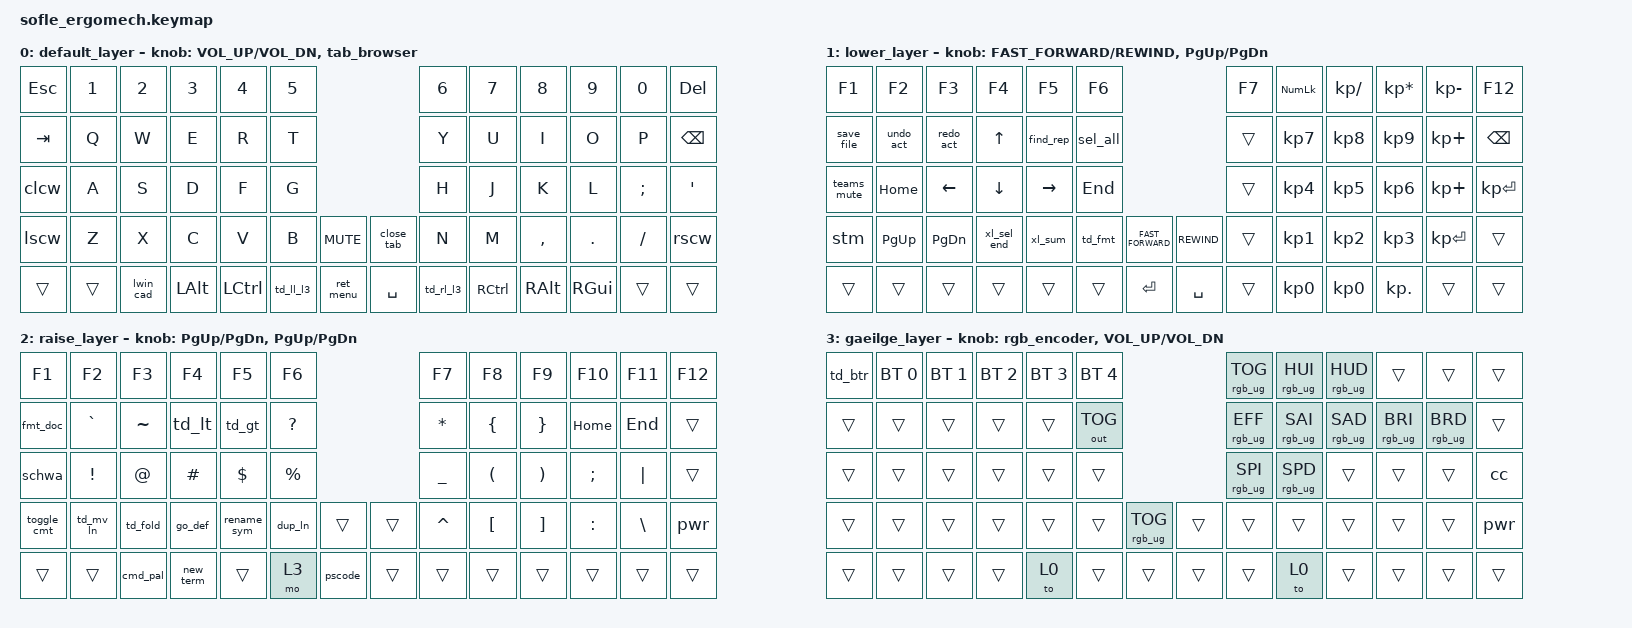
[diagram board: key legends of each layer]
/*
 * Copyright (c) 2020 The ZMK Contributors
 * SPDX-License-Identifier: MIT
 *
 * Sofle VU ZMK — Revised Keymap
 * Layer 0: Default (QWERTY) — unchanged
 * Layer 1: Office  — Nav left / Numpad right
 * Layer 2: Code    — Symbols / F-keys / shortcuts
 * Layer 3: System  — Bluetooth + RGB
 *
 * Bugs fixed from original:
 *   - lower_layer numpad used kp N7-N3 instead of KP_N7-KP_N3 (no numlock-aware)
 *     → kept as kp Nx for Windows compatibility (numpad layer), added KP_DOT
 *   - lower_layer thumb row had 4×kp N0 for 0 key (redundant)
 *   - lower_layer RHS had duplicate kp KP_PLUS on rows 2 & 3
 *   - raise_layer had kp KP_PLUS on bottom row (should be kp PLUS for symbol layer)
 *   - teams_mute macro switches BT profile before sending shortcut (side-effect) — preserved but noted
 *   - gaeilge_layer had &fada_i (not tap-dance) on I position; should be td_sp_i — added td_sp_i tap dance
 *   - combo_less_equal / combo_gtr_equal reference layer 2 (raise), key positions 15,16,25,14 with LSHIFT(37)
 *     These are valid combo positions; preserved.
 *   - rgb_dec mod-morph only catches LSFT|RSFT (missing LCTL|RCTL like rgb_inc) — fixed
 *   - Encoder: lower_layer right encoder was PG_UP/PG_DN; raise_layer left was rgb_encoder — kept logical
 */

#include <behaviors.dtsi>
#include <dt-bindings/zmk/keys.h>
#include <dt-bindings/zmk/bt.h>
#include <dt-bindings/zmk/rgb.h>
#include <dt-bindings/zmk/outputs.h>

//Encoder Support
//Alps Alpine EC11N1524402: 30 Detent, 15PPR, 2 Channel, Quadrature, 15000 Cycle
/ {
    left_encoder: encoder_left {
        compatible = "alps,ec11";
        label = "LEFT_ENCODER";
        a-gpios = <&pro_micro 21 (GPIO_ACTIVE_HIGH | GPIO_PULL_UP)>;
        b-gpios = <&pro_micro 20 (GPIO_ACTIVE_HIGH | GPIO_PULL_UP)>;
        steps = <60>;
    };
    right_encoder: encoder_right {
        compatible = "alps,ec11";
        label = "RIGHT_ENCODER";
        a-gpios = <&pro_micro 21 (GPIO_ACTIVE_HIGH | GPIO_PULL_UP)>;
        b-gpios = <&pro_micro 20 (GPIO_ACTIVE_HIGH | GPIO_PULL_UP)>;
        steps = <60>;
    };
    sensors {
        compatible = "zmk,keymap-sensors";
        sensors = <&left_encoder &right_encoder>;
        triggers-per-rotation = <30>;
    };
};

/ {
    macros {
// ── System & Power ────────────────────────────────────────────────
        tm: tm {
            label = "TASK_MANAGER";
            compatible = "zmk,behavior-macro";
            #binding-cells = <0>;
            bindings
                = <&macro_press &kp LCTRL &kp LSHFT>
                , <&macro_tap &kp ESC>
                , <&macro_release &kp LCTRL &kp LSHFT>
                ;
        };
        cad: cad {
            label = "CTRL_ALT_DEL";
            compatible = "zmk,behavior-macro";
            #binding-cells = <0>;
            bindings
                = <&macro_press &kp LCTRL &kp LALT &kp DEL>
                , <&macro_release &kp LCTRL &kp LALT &kp DEL>
                ;
        };
        slp: slp {
            label = "SLEEP";
            compatible = "zmk,behavior-macro";
            #binding-cells = <0>;
            bindings
                = <&macro_press &kp LGUI>
                , <&macro_tap &kp X>
                , <&macro_release &kp LGUI>
                , <&macro_tap &kp U &kp S>
                ;
        };
        rst: rst {
            label = "RESTART";
            compatible = "zmk,behavior-macro";
            #binding-cells = <0>;
            bindings
                = <&macro_press &kp LGUI>
                , <&macro_tap &kp X>
                , <&macro_release &kp LGUI>
                , <&macro_tap &kp U &kp R>
                ;
        };
        off: off {
            label = "SHUTDOWN";
            compatible = "zmk,behavior-macro";
            #binding-cells = <0>;
            bindings
                = <&macro_press &kp LGUI>
                , <&macro_tap &kp X>
                , <&macro_release &kp LGUI>
                , <&macro_tap &kp U &kp U>
                ;
        };

// ── Office shortcuts ──────────────────────────────────────────────
        // Teams mute: NOTE — macro switches to BT profile 1 first.
        // Preserved from original; remove bt BT_SEL 1 if not needed.
        teams_mute: teams_mute {
            label = "TEAMS_MUTE";
            compatible = "zmk,behavior-macro";
            #binding-cells = <0>;
            tap-ms = <0>;
            wait-ms = <0>;
            bindings
                = <&macro_press   &kp LGUI>
                , <&macro_tap     &kp N3>
                , <&macro_release &kp LGUI>
                , <&macro_wait_time 50>
                , <&macro_press   &kp LCTRL &kp LSHFT>
                , <&macro_tap     &kp M>
                , <&macro_release &kp LCTRL &kp LSHFT>
                ;
        };
        // Excel / Word shortcuts
        bold: bold {
            label = "BOLD";
            compatible = "zmk,behavior-macro";
            #binding-cells = <0>;
            tap-ms = <0>; wait-ms = <0>;
            bindings = <&macro_press &kp LCTRL>, <&macro_tap &kp B>, <&macro_release &kp LCTRL>;
        };
        italic: italic {
            label = "ITALIC";
            compatible = "zmk,behavior-macro";
            #binding-cells = <0>;
            tap-ms = <0>; wait-ms = <0>;
            bindings = <&macro_press &kp LCTRL>, <&macro_tap &kp I>, <&macro_release &kp LCTRL>;
        };
        underline: underline {
            label = "UNDERLINE";
            compatible = "zmk,behavior-macro";
            #binding-cells = <0>;
            tap-ms = <0>; wait-ms = <0>;
            bindings = <&macro_press &kp LCTRL>, <&macro_tap &kp U>, <&macro_release &kp LCTRL>;
        };
        save_file: save_file {
            label = "SAVE_FILE";
            compatible = "zmk,behavior-macro";
            #binding-cells = <0>;
            tap-ms = <0>; wait-ms = <0>;
            bindings = <&macro_press &kp LCTRL>, <&macro_tap &kp S>, <&macro_release &kp LCTRL>;
        };
        find_rep: find_rep {
            label = "FIND_REPLACE";
            compatible = "zmk,behavior-macro";
            #binding-cells = <0>;
            tap-ms = <0>; wait-ms = <0>;
            bindings = <&macro_press &kp LCTRL>, <&macro_tap &kp H>, <&macro_release &kp LCTRL>;
        };
        sel_all: sel_all {
            label = "SELECT_ALL";
            compatible = "zmk,behavior-macro";
            #binding-cells = <0>;
            tap-ms = <0>; wait-ms = <0>;
            bindings = <&macro_press &kp LCTRL>, <&macro_tap &kp A>, <&macro_release &kp LCTRL>;
        };
        undo_act: undo_act {
            label = "UNDO";
            compatible = "zmk,behavior-macro";
            #binding-cells = <0>;
            tap-ms = <0>; wait-ms = <0>;
            bindings = <&macro_press &kp LCTRL>, <&macro_tap &kp Z>, <&macro_release &kp LCTRL>;
        };
        redo_act: redo_act {
            label = "REDO";
            compatible = "zmk,behavior-macro";
            #binding-cells = <0>;
            tap-ms = <0>; wait-ms = <0>;
            bindings = <&macro_press &kp LCTRL>, <&macro_tap &kp Y>, <&macro_release &kp LCTRL>;
        };
        // Excel: select to end of column (Ctrl+Shift+End)
        xl_sel_end: xl_sel_end {
            label = "XL_SELECT_TO_END";
            compatible = "zmk,behavior-macro";
            #binding-cells = <0>;
            tap-ms = <0>; wait-ms = <0>;
            bindings = <&macro_press &kp LCTRL &kp LSHFT>, <&macro_tap &kp END>, <&macro_release &kp LCTRL &kp LSHFT>;
        };
        // Excel: AutoSum (Alt+=)
        xl_sum: xl_sum {
            label = "XL_AUTOSUM";
            compatible = "zmk,behavior-macro";
            #binding-cells = <0>;
            tap-ms = <0>; wait-ms = <0>;
            bindings = <&macro_press &kp LALT>, <&macro_tap &kp EQUAL>, <&macro_release &kp LALT>;
        };

// ── Browser & Window controls ─────────────────────────────────────
        tab_right: tab_right {
            label = "TAB_RIGHT";
            compatible = "zmk,behavior-macro";
            #binding-cells = <0>;
            wait-ms = <0>; tap-ms = <0>;
            bindings = <&macro_press &kp LCTRL>, <&macro_tap &kp TAB>, <&macro_release &kp LCTRL>;
        };
        tab_left: tab_left {
            label = "TAB_LEFT";
            compatible = "zmk,behavior-macro";
            #binding-cells = <0>;
            wait-ms = <0>; tap-ms = <0>;
            bindings = <&macro_press &kp LCTRL &kp LSHFT>, <&macro_tap &kp TAB>, <&macro_release &kp LCTRL &kp LSHFT>;
        };
        close_tab: close_tab {
            label = "CLOSE_TAB";
            compatible = "zmk,behavior-macro";
            #binding-cells = <0>;
            wait-ms = <0>; tap-ms = <0>;
            bindings = <&macro_press &kp LCTRL>, <&macro_tap &kp W>, <&macro_release &kp LCTRL>;
        };

// ── Code shortcuts ────────────────────────────────────────────────
        // VSCode: Format Document (Shift+Alt+F)
        fmt_doc: fmt_doc {
            label = "FORMAT_DOCUMENT";
            compatible = "zmk,behavior-macro";
            #binding-cells = <0>;
            tap-ms = <0>; wait-ms = <0>;
            bindings = <&macro_press &kp LSHFT &kp LALT>, <&macro_tap &kp F>, <&macro_release &kp LSHFT &kp LALT>;
        };
        // VSCode: Toggle Line Comment (Ctrl+/)
        toggle_cmt: toggle_cmt {
            label = "TOGGLE_COMMENT";
            compatible = "zmk,behavior-macro";
            #binding-cells = <0>;
            tap-ms = <0>; wait-ms = <0>;
            bindings = <&macro_press &kp LCTRL>, <&macro_tap &kp FSLH>, <&macro_release &kp LCTRL>;
        };
        // VSCode: Rename Symbol (F2)
        rename_sym: rename_sym {
            label = "RENAME_SYMBOL";
            compatible = "zmk,behavior-macro";
            #binding-cells = <0>;
            tap-ms = <0>; wait-ms = <0>;
            bindings = <&macro_tap &kp F2>;
        };
        // VSCode: Go to Definition (F12)
        go_def: go_def {
            label = "GO_TO_DEFINITION";
            compatible = "zmk,behavior-macro";
            #binding-cells = <0>;
            tap-ms = <0>; wait-ms = <0>;
            bindings = <&macro_tap &kp F12>;
        };
        // VSCode: Move line up (Alt+Up)
        mv_ln_up: mv_ln_up {
            label = "MOVE_LINE_UP";
            compatible = "zmk,behavior-macro";
            #binding-cells = <0>;
            tap-ms = <0>; wait-ms = <0>;
            bindings = <&macro_press &kp LALT>, <&macro_tap &kp UP>, <&macro_release &kp LALT>;
        };
        // VSCode: Move line down (Alt+Down)
        mv_ln_dn: mv_ln_dn {
            label = "MOVE_LINE_DOWN";
            compatible = "zmk,behavior-macro";
            #binding-cells = <0>;
            tap-ms = <0>; wait-ms = <0>;
            bindings = <&macro_press &kp LALT>, <&macro_tap &kp DOWN>, <&macro_release &kp LALT>;
        };
        // VSCode: Duplicate line (Shift+Alt+Down)
        dup_ln: dup_ln {
            label = "DUPLICATE_LINE";
            compatible = "zmk,behavior-macro";
            #binding-cells = <0>;
            tap-ms = <0>; wait-ms = <0>;
            bindings = <&macro_press &kp LSHFT &kp LALT>, <&macro_tap &kp DOWN>, <&macro_release &kp LSHFT &kp LALT>;
        };
        // VSCode: Fold all (Ctrl+K Ctrl+0)
        fold_all: fold_all {
            label = "FOLD_ALL";
            compatible = "zmk,behavior-macro";
            #binding-cells = <0>;
            tap-ms = <0>; wait-ms = <50>;
            bindings
                = <&macro_press &kp LCTRL>
                , <&macro_tap &kp K>
                , <&macro_release &kp LCTRL>
                , <&macro_press &kp LCTRL>
                , <&macro_tap &kp N0>
                , <&macro_release &kp LCTRL>
                ;
        };
        // VSCode: Unfold all (Ctrl+K Ctrl+J)
        unfold_all: unfold_all {
            label = "UNFOLD_ALL";
            compatible = "zmk,behavior-macro";
            #binding-cells = <0>;
            tap-ms = <0>; wait-ms = <50>;
            bindings
                = <&macro_press &kp LCTRL>
                , <&macro_tap &kp K>
                , <&macro_release &kp LCTRL>
                , <&macro_press &kp LCTRL>
                , <&macro_tap &kp J>
                , <&macro_release &kp LCTRL>
                ;
        };
        // Terminal: new terminal (Ctrl+`)
        new_term: new_term {
            label = "NEW_TERMINAL";
            compatible = "zmk,behavior-macro";
            #binding-cells = <0>;
            tap-ms = <0>; wait-ms = <0>;
            bindings = <&macro_press &kp LCTRL>, <&macro_tap &kp GRAVE>, <&macro_release &kp LCTRL>;
        };
        // Git: stage (VSCode Ctrl+Shift+G then A — approximation via palette)
        // Kept simple: Ctrl+Shift+P → quick access
        cmd_pal: cmd_pal {
            label = "COMMAND_PALETTE";
            compatible = "zmk,behavior-macro";
            #binding-cells = <0>;
            tap-ms = <0>; wait-ms = <0>;
            bindings = <&macro_press &kp LCTRL &kp LSHFT>, <&macro_tap &kp P>, <&macro_release &kp LCTRL &kp LSHFT>;
        };

// ── Unicode Special Characters ────────────────────────────────────
// Need regkey HKEY_CURRENT_USER\Control Panel\Input Method, REG_SZ EnableHexNumpad = 1
        smfada_a: smfada_a {
            label = "SMALL_FADA_A";
            compatible = "zmk,behavior-macro";
            #binding-cells = <0>;
            tap-ms = <0>; wait-ms = <0>;
            bindings = <&macro_press &kp LALT>, <&macro_tap &kp KP_PLUS &kp KP_N0 &kp KP_N0 &kp E &kp KP_N1>, <&macro_release &kp LALT>;
        };
        lfada_a: lfada_a {
            label = "LARGE_FADA_A";
            compatible = "zmk,behavior-macro";
            #binding-cells = <0>;
            tap-ms = <0>; wait-ms = <0>;
            bindings = <&macro_press &kp LALT>, <&macro_tap &kp KP_PLUS &kp KP_N0 &kp KP_N0 &kp C &kp KP_N1>, <&macro_release &kp LALT>;
        };
        smumlaut_a: smumlaut_a {
            label = "SMALL_UMLAUT_A";
            compatible = "zmk,behavior-macro";
            #binding-cells = <0>;
            tap-ms = <0>; wait-ms = <0>;
            bindings = <&macro_press &kp LALT>, <&macro_tap &kp KP_PLUS &kp KP_N0 &kp KP_N0 &kp E &kp KP_N4>, <&macro_release &kp LALT>;
        };
        lumlaut_a: lumlaut_a {
            label = "LARGE_UMLAUT_A";
            compatible = "zmk,behavior-macro";
            #binding-cells = <0>;
            tap-ms = <0>; wait-ms = <0>;
            bindings = <&macro_press &kp LALT>, <&macro_tap &kp KP_PLUS &kp KP_N0 &kp KP_N0 &kp C &kp KP_N4>, <&macro_release &kp LALT>;
        };
        smlat_ae: smlat_ae {
            label = "SMALL_LATIN_AE";
            compatible = "zmk,behavior-macro";
            #binding-cells = <0>;
            tap-ms = <0>; wait-ms = <0>;
            bindings = <&macro_press &kp LALT>, <&macro_tap &kp KP_PLUS &kp KP_N0 &kp KP_N0 &kp E &kp KP_N6>, <&macro_release &kp LALT>;
        };
        lglat_ae: lglat_ae {
            label = "LARGE_LATIN_AE";
            compatible = "zmk,behavior-macro";
            #binding-cells = <0>;
            tap-ms = <0>; wait-ms = <0>;
            bindings = <&macro_press &kp LALT>, <&macro_tap &kp KP_PLUS &kp KP_N0 &kp KP_N0 &kp C &kp KP_N6>, <&macro_release &kp LALT>;
        };
        smfada_e: smfada_e {
            label = "SMALL_FADA_E";
            compatible = "zmk,behavior-macro";
            #binding-cells = <0>;
            tap-ms = <0>; wait-ms = <0>;
            bindings = <&macro_press &kp LALT>, <&macro_tap &kp KP_PLUS &kp KP_N0 &kp KP_N0 &kp E &kp KP_N9>, <&macro_release &kp LALT>;
        };
        lfada_e: lfada_e {
            label = "LARGE_FADA_E";
            compatible = "zmk,behavior-macro";
            #binding-cells = <0>;
            tap-ms = <0>; wait-ms = <0>;
            bindings = <&macro_press &kp LALT>, <&macro_tap &kp KP_PLUS &kp KP_N0 &kp KP_N0 &kp C &kp KP_N9>, <&macro_release &kp LALT>;
        };
        smfada_i: smfada_i {
            label = "SMALL_FADA_I";
            compatible = "zmk,behavior-macro";
            #binding-cells = <0>;
            tap-ms = <0>; wait-ms = <0>;
            bindings = <&macro_press &kp LALT>, <&macro_tap &kp KP_PLUS &kp KP_N0 &kp KP_N0 &kp E &kp D>, <&macro_release &kp LALT>;
        };
        lfada_i: lfada_i {
            label = "LARGE_FADA_I";
            compatible = "zmk,behavior-macro";
            #binding-cells = <0>;
            tap-ms = <0>; wait-ms = <0>;
            bindings = <&macro_press &kp LALT>, <&macro_tap &kp KP_PLUS &kp KP_N0 &kp KP_N0 &kp C &kp D>, <&macro_release &kp LALT>;
        };
        smfada_o: smfada_o {
            label = "SMALL_FADA_O";
            compatible = "zmk,behavior-macro";
            #binding-cells = <0>;
            tap-ms = <0>; wait-ms = <0>;
            bindings = <&macro_press &kp LALT>, <&macro_tap &kp KP_PLUS &kp KP_N0 &kp KP_N0 &kp F &kp KP_N3>, <&macro_release &kp LALT>;
        };
        lfada_o: lfada_o {
            label = "LARGE_FADA_O";
            compatible = "zmk,behavior-macro";
            #binding-cells = <0>;
            tap-ms = <0>; wait-ms = <0>;
            bindings = <&macro_press &kp LALT>, <&macro_tap &kp KP_PLUS &kp KP_N0 &kp KP_N0 &kp D &kp KP_N3>, <&macro_release &kp LALT>;
        };
        smumlaut_o: smumlaut_o {
            label = "SMALL_UMLAUT_O";
            compatible = "zmk,behavior-macro";
            #binding-cells = <0>;
            tap-ms = <0>; wait-ms = <0>;
            bindings = <&macro_press &kp LALT>, <&macro_tap &kp KP_PLUS &kp KP_N0 &kp KP_N0 &kp F &kp KP_N6>, <&macro_release &kp LALT>;
        };
        lumlaut_o: lumlaut_o {
            label = "LARGE_UMLAUT_O";
            compatible = "zmk,behavior-macro";
            #binding-cells = <0>;
            tap-ms = <0>; wait-ms = <0>;
            bindings = <&macro_press &kp LALT>, <&macro_tap &kp KP_PLUS &kp KP_N0 &kp KP_N0 &kp D &kp KP_N6>, <&macro_release &kp LALT>;
        };
        smfada_u: smfada_u {
            label = "SMALL_FADA_U";
            compatible = "zmk,behavior-macro";
            #binding-cells = <0>;
            tap-ms = <0>; wait-ms = <0>;
            bindings = <&macro_press &kp LALT>, <&macro_tap &kp KP_PLUS &kp KP_N0 &kp KP_N0 &kp F &kp A>, <&macro_release &kp LALT>;
        };
        lfada_u: lfada_u {
            label = "LARGE_FADA_U";
            compatible = "zmk,behavior-macro";
            #binding-cells = <0>;
            tap-ms = <0>; wait-ms = <0>;
            bindings = <&macro_press &kp LALT>, <&macro_tap &kp KP_PLUS &kp KP_N0 &kp KP_N0 &kp D &kp A>, <&macro_release &kp LALT>;
        };
        smumlaut_u: smumlaut_u {
            label = "SMALL_UMLAUT_U";
            compatible = "zmk,behavior-macro";
            #binding-cells = <0>;
            tap-ms = <0>; wait-ms = <0>;
            bindings = <&macro_press &kp LALT>, <&macro_tap &kp KP_PLUS &kp KP_N0 &kp KP_N0 &kp F &kp C>, <&macro_release &kp LALT>;
        };
        lumlaut_u: lumlaut_u {
            label = "LARGE_UMLAUT_U";
            compatible = "zmk,behavior-macro";
            #binding-cells = <0>;
            tap-ms = <0>; wait-ms = <0>;
            bindings = <&macro_press &kp LALT>, <&macro_tap &kp KP_PLUS &kp KP_N0 &kp KP_N0 &kp D &kp C>, <&macro_release &kp LALT>;
        };
        smtil_n: smtil_n {
            label = "SMALL_TILDE_N";
            compatible = "zmk,behavior-macro";
            #binding-cells = <0>;
            tap-ms = <0>; wait-ms = <0>;
            bindings = <&macro_press &kp LALT>, <&macro_tap &kp KP_PLUS &kp KP_N0 &kp KP_N0 &kp F &kp KP_N1>, <&macro_release &kp LALT>;
        };
        ltil_n: ltil_n {
            label = "LARGE_TILDE_N";
            compatible = "zmk,behavior-macro";
            #binding-cells = <0>;
            tap-ms = <0>; wait-ms = <0>;
            bindings = <&macro_press &kp LALT>, <&macro_tap &kp KP_PLUS &kp KP_N0 &kp KP_N0 &kp D &kp KP_N1>, <&macro_release &kp LALT>;
        };
        essette_s: essette_s {
            label = "ESSETTE_S";
            compatible = "zmk,behavior-macro";
            #binding-cells = <0>;
            tap-ms = <0>; wait-ms = <0>;
            bindings = <&macro_press &kp LALT>, <&macro_tap &kp KP_PLUS &kp KP_N0 &kp KP_N0 &kp D &kp F>, <&macro_release &kp LALT>;
        };
        euro: euro {
            label = "EURO";
            compatible = "zmk,behavior-macro";
            #binding-cells = <0>;
            tap-ms = <0>; wait-ms = <0>;
            bindings = <&macro_press &kp LALT>, <&macro_tap &kp KP_PLUS &kp KP_N2 &kp KP_N0 &kp A &kp C>, <&macro_release &kp LALT>;
        };
        us_cent: us_cent {
            label = "US_CENT";
            compatible = "zmk,behavior-macro";
            #binding-cells = <0>;
            tap-ms = <0>; wait-ms = <0>;
            bindings = <&macro_press &kp LALT>, <&macro_tap &kp KP_PLUS &kp KP_N0 &kp KP_N0 &kp A &kp KP_N2>, <&macro_release &kp LALT>;
        };
        uk_pnd: uk_pnd {
            label = "UK_POUND";
            compatible = "zmk,behavior-macro";
            #binding-cells = <0>;
            tap-ms = <0>; wait-ms = <0>;
            bindings = <&macro_press &kp LALT>, <&macro_tap &kp KP_PLUS &kp KP_N0 &kp KP_N0 &kp A &kp KP_N3>, <&macro_release &kp LALT>;
        };
        degree: degree {
            label = "DEGREE_SIGN";
            compatible = "zmk,behavior-macro";
            #binding-cells = <0>;
            tap-ms = <0>; wait-ms = <0>;
            bindings = <&macro_press &kp LALT>, <&macro_tap &kp KP_PLUS &kp KP_N0 &kp KP_N0 &kp B &kp KP_N0>, <&macro_release &kp LALT>;
        };
        inv_exc: inv_exc {
            label = "INVERTED_EXCLAMATION_MARK";
            compatible = "zmk,behavior-macro";
            #binding-cells = <0>;
            tap-ms = <0>; wait-ms = <0>;
            bindings = <&macro_press &kp LALT>, <&macro_tap &kp KP_PLUS &kp KP_N0 &kp KP_N0 &kp A &kp KP_N1>, <&macro_release &kp LALT>;
        };
        inv_ques: inv_ques {
            label = "INVERTED_QUESTION_MARK";
            compatible = "zmk,behavior-macro";
            #binding-cells = <0>;
            tap-ms = <0>; wait-ms = <0>;
            bindings = <&macro_press &kp LALT>, <&macro_tap &kp KP_PLUS &kp KP_N0 &kp KP_N0 &kp B &kp F>, <&macro_release &kp LALT>;
        };
        plus_min: plus_min {
            label = "PLUS_MINUS_SIGN";
            compatible = "zmk,behavior-macro";
            #binding-cells = <0>;
            tap-ms = <0>; wait-ms = <0>;
            bindings = <&macro_press &kp LALT>, <&macro_tap &kp KP_PLUS &kp KP_N0 &kp KP_N0 &kp B &kp KP_N1>, <&macro_release &kp LALT>;
        };
        schwa: schwa {
            label = "SCHWA";
            compatible = "zmk,behavior-macro";
            #binding-cells = <0>;
            tap-ms = <0>; wait-ms = <0>;
            bindings = <&macro_press &kp LALT>, <&macro_tap &kp KP_PLUS &kp KP_N0 &kp KP_N2 &kp KP_N5 &kp KP_N9>, <&macro_release &kp LALT>;
        };
        smogo_a: smogo_a {
            label = "SMALL_OGONEK_A";
            compatible = "zmk,behavior-macro";
            #binding-cells = <0>;
            tap-ms = <0>; wait-ms = <0>;
            bindings = <&macro_press &kp LALT>, <&macro_tap &kp KP_PLUS &kp KP_N0 &kp KP_N1 &kp KP_N0 &kp KP_N5>, <&macro_release &kp LALT>;
        };
        logo_a: logo_a {
            label = "LARGE_OGONEK_A";
            compatible = "zmk,behavior-macro";
            #binding-cells = <0>;
            tap-ms = <0>; wait-ms = <0>;
            bindings = <&macro_press &kp LALT>, <&macro_tap &kp KP_PLUS &kp KP_N0 &kp KP_N1 &kp KP_N0 &kp KP_N4>, <&macro_release &kp LALT>;
        };
        smogo_e: smogo_e {
            label = "SMALL_OGONEK_E";
            compatible = "zmk,behavior-macro";
            #binding-cells = <0>;
            tap-ms = <0>; wait-ms = <0>;
            bindings = <&macro_press &kp LALT>, <&macro_tap &kp KP_PLUS &kp KP_N0 &kp KP_N1 &kp KP_N1 &kp KP_N9>, <&macro_release &kp LALT>;
        };
        logo_e: logo_e {
            label = "LARGE_OGONEK_E";
            compatible = "zmk,behavior-macro";
            #binding-cells = <0>;
            tap-ms = <0>; wait-ms = <0>;
            bindings = <&macro_press &kp LALT>, <&macro_tap &kp KP_PLUS &kp KP_N0 &kp KP_N1 &kp KP_N1 &kp KP_N8>, <&macro_release &kp LALT>;
        };
        smacute_c: smacute_c {
            label = "SMALL_ACUTE_C";
            compatible = "zmk,behavior-macro";
            #binding-cells = <0>;
            tap-ms = <0>; wait-ms = <0>;
            bindings = <&macro_press &kp LALT>, <&macro_tap &kp KP_PLUS &kp KP_N0 &kp KP_N1 &kp KP_N0 &kp KP_N7>, <&macro_release &kp LALT>;
        };
        lacute_c: lacute_c {
            label = "LARGE_ACUTE_C";
            compatible = "zmk,behavior-macro";
            #binding-cells = <0>;
            tap-ms = <0>; wait-ms = <0>;
            bindings = <&macro_press &kp LALT>, <&macro_tap &kp KP_PLUS &kp KP_N0 &kp KP_N1 &kp KP_N0 &kp KP_N6>, <&macro_release &kp LALT>;
        };
        smdark_l: smdark_l {
            label = "SMALL_DARK_L";
            compatible = "zmk,behavior-macro";
            #binding-cells = <0>;
            tap-ms = <0>; wait-ms = <0>;
            bindings = <&macro_press &kp LALT>, <&macro_tap &kp KP_PLUS &kp KP_N0 &kp KP_N1 &kp KP_N4 &kp KP_N2>, <&macro_release &kp LALT>;
        };
        ldark_l: ldark_l {
            label = "LARGE_DARK_L";
            compatible = "zmk,behavior-macro";
            #binding-cells = <0>;
            tap-ms = <0>; wait-ms = <0>;
            bindings = <&macro_press &kp LALT>, <&macro_tap &kp KP_PLUS &kp KP_N0 &kp KP_N1 &kp KP_N4 &kp KP_N1>, <&macro_release &kp LALT>;
        };
        smacute_n: smacute_n {
            label = "SMALL_ACUTE_N";
            compatible = "zmk,behavior-macro";
            #binding-cells = <0>;
            tap-ms = <0>; wait-ms = <0>;
            bindings = <&macro_press &kp LALT>, <&macro_tap &kp KP_PLUS &kp KP_N0 &kp KP_N1 &kp KP_N4 &kp KP_N4>, <&macro_release &kp LALT>;
        };
        lacute_n: lacute_n {
            label = "LARGE_ACUTE_N";
            compatible = "zmk,behavior-macro";
            #binding-cells = <0>;
            tap-ms = <0>; wait-ms = <0>;
            bindings = <&macro_press &kp LALT>, <&macro_tap &kp KP_PLUS &kp KP_N0 &kp KP_N1 &kp KP_N4 &kp KP_N3>, <&macro_release &kp LALT>;
        };
        smacute_s: smacute_s {
            label = "SMALL_ACUTE_S";
            compatible = "zmk,behavior-macro";
            #binding-cells = <0>;
            tap-ms = <0>; wait-ms = <0>;
            bindings = <&macro_press &kp LALT>, <&macro_tap &kp KP_PLUS &kp KP_N0 &kp KP_N1 &kp KP_N5 &kp B>, <&macro_release &kp LALT>;
        };
        lacute_s: lacute_s {
            label = "LARGE_ACUTE_S";
            compatible = "zmk,behavior-macro";
            #binding-cells = <0>;
            tap-ms = <0>; wait-ms = <0>;
            bindings = <&macro_press &kp LALT>, <&macro_tap &kp KP_PLUS &kp KP_N0 &kp KP_N1 &kp KP_N5 &kp A>, <&macro_release &kp LALT>;
        };
        smacute_z: smacute_z {
            label = "SMALL_ACUTE_Z";
            compatible = "zmk,behavior-macro";
            #binding-cells = <0>;
            tap-ms = <0>; wait-ms = <0>;
            bindings = <&macro_press &kp LALT>, <&macro_tap &kp KP_PLUS &kp KP_N0 &kp KP_N1 &kp KP_N7 &kp A>, <&macro_release &kp LALT>;
        };
        lacute_z: lacute_z {
            label = "LARGE_ACUTE_Z";
            compatible = "zmk,behavior-macro";
            #binding-cells = <0>;
            tap-ms = <0>; wait-ms = <0>;
            bindings = <&macro_press &kp LALT>, <&macro_tap &kp KP_PLUS &kp KP_N0 &kp KP_N1 &kp KP_N7 &kp KP_N9>, <&macro_release &kp LALT>;
        };
        smdot_z: smdot_z {
            label = "SMALL_DOT_Z";
            compatible = "zmk,behavior-macro";
            #binding-cells = <0>;
            tap-ms = <0>; wait-ms = <0>;
            bindings = <&macro_press &kp LALT>, <&macro_tap &kp KP_PLUS &kp KP_N0 &kp KP_N1 &kp KP_N7 &kp C>, <&macro_release &kp LALT>;
        };
        ldot_z: ldot_z {
            label = "LARGE_DOT_Z";
            compatible = "zmk,behavior-macro";
            #binding-cells = <0>;
            tap-ms = <0>; wait-ms = <0>;
            bindings = <&macro_press &kp LALT>, <&macro_tap &kp KP_PLUS &kp KP_N0 &kp KP_N1 &kp KP_N7 &kp B>, <&macro_release &kp LALT>;
        };

// ── Fractions ─────────────────────────────────────────────────────
        one_half: one_half {
            label = "ONE_HALF"; compatible = "zmk,behavior-macro"; #binding-cells = <0>;
            tap-ms = <0>; wait-ms = <0>;
            bindings = <&macro_press &kp LALT>, <&macro_tap &kp KP_PLUS &kp KP_N0 &kp KP_N0 &kp B &kp D>, <&macro_release &kp LALT>;
        };
        one_third: one_third {
            label = "ONE_THIRD"; compatible = "zmk,behavior-macro"; #binding-cells = <0>;
            tap-ms = <0>; wait-ms = <0>;
            bindings = <&macro_press &kp LALT>, <&macro_tap &kp KP_PLUS &kp KP_N2 &kp KP_N1 &kp KP_N5 &kp KP_N3>, <&macro_release &kp LALT>;
        };
        one_fourth: one_fourth {
            label = "ONE_FOURTH"; compatible = "zmk,behavior-macro"; #binding-cells = <0>;
            tap-ms = <0>; wait-ms = <0>;
            bindings = <&macro_press &kp LALT>, <&macro_tap &kp KP_PLUS &kp KP_N0 &kp KP_N0 &kp B &kp C>, <&macro_release &kp LALT>;
        };
        one_eighth: one_eighth {
            label = "ONE_EIGHTH"; compatible = "zmk,behavior-macro"; #binding-cells = <0>;
            tap-ms = <0>; wait-ms = <0>;
            bindings = <&macro_press &kp LALT>, <&macro_tap &kp KP_PLUS &kp KP_N2 &kp KP_N1 &kp KP_N5 &kp B>, <&macro_release &kp LALT>;
        };
        two_thirds: two_thirds {
            label = "TWO_THIRDS"; compatible = "zmk,behavior-macro"; #binding-cells = <0>;
            tap-ms = <0>; wait-ms = <0>;
            bindings = <&macro_press &kp LALT>, <&macro_tap &kp KP_PLUS &kp KP_N2 &kp KP_N1 &kp KP_N5 &kp KP_N4>, <&macro_release &kp LALT>;
        };
        three_fourths: three_fourths {
            label = "THREE_FOURTHS"; compatible = "zmk,behavior-macro"; #binding-cells = <0>;
            tap-ms = <0>; wait-ms = <0>;
            bindings = <&macro_press &kp LALT>, <&macro_tap &kp KP_PLUS &kp KP_N0 &kp KP_N0 &kp B &kp E>, <&macro_release &kp LALT>;
        };
        three_eighths: three_eighths {
            label = "THREE_EIGHTHS"; compatible = "zmk,behavior-macro"; #binding-cells = <0>;
            tap-ms = <0>; wait-ms = <0>;
            bindings = <&macro_press &kp LALT>, <&macro_tap &kp KP_PLUS &kp KP_N2 &kp KP_N1 &kp KP_N5 &kp C>, <&macro_release &kp LALT>;
        };
        five_eighths: five_eighths {
            label = "FIVE_EIGHTHS"; compatible = "zmk,behavior-macro"; #binding-cells = <0>;
            tap-ms = <0>; wait-ms = <0>;
            bindings = <&macro_press &kp LALT>, <&macro_tap &kp KP_PLUS &kp KP_N2 &kp KP_N1 &kp KP_N5 &kp D>, <&macro_release &kp LALT>;
        };
        seven_eighths: seven_eighths {
            label = "SEVEN_EIGHTHS"; compatible = "zmk,behavior-macro"; #binding-cells = <0>;
            tap-ms = <0>; wait-ms = <0>;
            bindings = <&macro_press &kp LALT>, <&macro_tap &kp KP_PLUS &kp KP_N2 &kp KP_N1 &kp KP_N5 &kp E>, <&macro_release &kp LALT>;
        };

// ── Math Operators ────────────────────────────────────────────────
        less_equ: less_equ {
            label = "LESS_THAN_OR_EQUAL"; compatible = "zmk,behavior-macro"; #binding-cells = <0>;
            tap-ms = <0>; wait-ms = <0>;
            bindings = <&macro_press &kp LALT>, <&macro_tap &kp KP_PLUS &kp KP_N2 &kp KP_N2 &kp KP_N6 &kp KP_N4>, <&macro_release &kp LALT>;
        };
        gtr_equ: gtr_equ {
            label = "GREATER_THAN_OR_EQUAL"; compatible = "zmk,behavior-macro"; #binding-cells = <0>;
            tap-ms = <0>; wait-ms = <0>;
            bindings = <&macro_press &kp LALT>, <&macro_tap &kp KP_PLUS &kp KP_N2 &kp KP_N2 &kp KP_N6 &kp KP_N5>, <&macro_release &kp LALT>;
        };
        not_equ: not_equ {
            label = "DOES_NOT_EQUAL"; compatible = "zmk,behavior-macro"; #binding-cells = <0>;
            tap-ms = <0>; wait-ms = <0>;
            bindings = <&macro_press &kp LALT>, <&macro_tap &kp KP_PLUS &kp KP_N2 &kp KP_N2 &kp KP_N6 &kp KP_N0>, <&macro_release &kp LALT>;
        };
        alm_equ: alm_equ {
            label = "ALMOST_EQUAL"; compatible = "zmk,behavior-macro"; #binding-cells = <0>;
            tap-ms = <0>; wait-ms = <0>;
            bindings = <&macro_press &kp LALT>, <&macro_tap &kp KP_PLUS &kp KP_N2 &kp KP_N2 &kp KP_N4 &kp KP_N8>, <&macro_release &kp LALT>;
        };
        dbl_left: dbl_left {
            label = "DOUBLE_LEFT_MARKS"; compatible = "zmk,behavior-macro"; #binding-cells = <0>;
            tap-ms = <0>; wait-ms = <0>;
            bindings = <&macro_press &kp LALT>, <&macro_tap &kp KP_PLUS &kp KP_N0 &kp KP_N0 &kp A &kp B>, <&macro_release &kp LALT>;
        };
        dbl_right: dbl_right {
            label = "DOUBLE_RIGHT_MARKS"; compatible = "zmk,behavior-macro"; #binding-cells = <0>;
            tap-ms = <0>; wait-ms = <0>;
            bindings = <&macro_press &kp LALT>, <&macro_tap &kp KP_PLUS &kp KP_N0 &kp KP_N0 &kp B &kp B>, <&macro_release &kp LALT>;
        };
    };
};

// ── Combos (zero-indexed key positions) ───────────────────────────
// lshift=36, rshift=49
/ {
    combos {
        compatible = "zmk,combos";

// Characters (Layer 3 — Gaeilge)
        combo_sm_lat_ae {
            timeout-ms = <200>; layers = <3>;
            key-positions = <15 25>;
            bindings = <&smlat_ae>;
        };
        combo_lg_lat_ae {
            timeout-ms = <200>; layers = <3>;
            key-positions = <15 25 49>;
            bindings = <&lglat_ae>;
        };

// Fractions (Layer 0 — Default number row)
        combo_one_half      { timeout-ms = <20>; layers = <0>; key-positions = <1 2>;  bindings = <&one_half>; };
        combo_one_third     { timeout-ms = <20>; layers = <0>; key-positions = <1 3>;  bindings = <&one_third>; };
        combo_one_fourth    { timeout-ms = <20>; layers = <0>; key-positions = <1 4>;  bindings = <&one_fourth>; };
        combo_one_eighth    { timeout-ms = <20>; layers = <0>; key-positions = <1 8>;  bindings = <&one_eighth>; };
        combo_two_thirds    { timeout-ms = <20>; layers = <0>; key-positions = <2 3>;  bindings = <&two_thirds>; };
        combo_three_fourths { timeout-ms = <20>; layers = <0>; key-positions = <3 4>;  bindings = <&three_fourths>; };
        combo_three_eighths { timeout-ms = <20>; layers = <0>; key-positions = <3 8>;  bindings = <&three_eighths>; };
        combo_five_eighths  { timeout-ms = <20>; layers = <0>; key-positions = <5 8>;  bindings = <&five_eighths>; };
        combo_seven_eighths { timeout-ms = <20>; layers = <0>; key-positions = <7 8>;  bindings = <&seven_eighths>; };

// Math Operators (Layer 2 — Code)
        combo_less_equal  { timeout-ms = <200>; layers = <2>; key-positions = <15 37>; bindings = <&less_equ>; };
        combo_gtr_equal   { timeout-ms = <200>; layers = <2>; key-positions = <16 37>; bindings = <&gtr_equ>; };
        combo_not_equal   { timeout-ms = <200>; layers = <2>; key-positions = <25 37>; bindings = <&not_equ>; };
        combo_almost_equal{ timeout-ms = <200>; layers = <2>; key-positions = <14 37>; bindings = <&alm_equ>; };
    };
};

// ── Behaviors: Mod-Morphs, Encoders, Tap-Dances ───────────────────
/ {
    behaviors {

// RGB Mod-Morphs
        rgb_bri_sat_inc: rgb_bri_sat_inc {
            compatible = "zmk,behavior-mod-morph";
            label = "RGB_BRI_SAT_INC";
            #binding-cells = <0>;
            bindings = <&rgb_ug RGB_SAI>, <&rgb_ug RGB_BRI>;
            mods = <(MOD_LALT|MOD_RALT)>;
        };
        rgb_bri_sat_dec: rgb_bri_sat_dec {
            compatible = "zmk,behavior-mod-morph";
            label = "RGB_BRI_SAT_DEC";
            #binding-cells = <0>;
            bindings = <&rgb_ug RGB_SAD>, <&rgb_ug RGB_BRD>;
            mods = <(MOD_LALT|MOD_RALT)>;
        };
        rgb_inc: rgb_inc {
            compatible = "zmk,behavior-mod-morph";
            label = "RGB_INCREASE";
            #binding-cells = <0>;
            bindings = <&rgb_ug RGB_HUI>, <&rgb_bri_sat_inc>;
            // FIX: original missing LCTL|RCTL — added for consistency
            mods = <(MOD_LSFT|MOD_RSFT|MOD_LCTL|MOD_RCTL)>;
        };
        rgb_dec: rgb_dec {
            compatible = "zmk,behavior-mod-morph";
            label = "RGB_DECREASE";
            #binding-cells = <0>;
            bindings = <&rgb_ug RGB_HUD>, <&rgb_bri_sat_dec>;
            // FIX: original only had LSFT|RSFT — added LCTL|RCTL to match rgb_inc
            mods = <(MOD_LSFT|MOD_RSFT|MOD_LCTL|MOD_RCTL)>;
        };

// System Mod-Morphs
        ret_menu: ret_menu {
            compatible = "zmk,behavior-mod-morph";
            label = "RETURN_MENU";
            #binding-cells = <0>;
            bindings = <&kp RET>, <&kp K_APPLICATION>;
            mods = <(MOD_LSFT|MOD_RSFT)>;
        };

// Special Characters — Capitalizations via Shift
        fada_a:   fada_a   { compatible = "zmk,behavior-mod-morph"; label = "FADA_A";   #binding-cells = <0>; bindings = <&smfada_a>,   <&lfada_a>;   mods = <(MOD_LSFT|MOD_RSFT)>; };
        ogonek_a: ogonek_a { compatible = "zmk,behavior-mod-morph"; label = "OGONEK_A"; #binding-cells = <0>; bindings = <&smogo_a>,    <&logo_a>;    mods = <(MOD_LSFT|MOD_RSFT)>; };
        umlaut_a: umlaut_a { compatible = "zmk,behavior-mod-morph"; label = "UMLAUT_A"; #binding-cells = <0>; bindings = <&smumlaut_a>, <&lumlaut_a>; mods = <(MOD_LSFT|MOD_RSFT)>; };
        fada_e:   fada_e   { compatible = "zmk,behavior-mod-morph"; label = "FADA_E";   #binding-cells = <0>; bindings = <&smfada_e>,   <&lfada_e>;   mods = <(MOD_LSFT|MOD_RSFT)>; };
        ogonek_e: ogonek_e { compatible = "zmk,behavior-mod-morph"; label = "OGONEK_E"; #binding-cells = <0>; bindings = <&smogo_e>,    <&logo_e>;    mods = <(MOD_LSFT|MOD_RSFT)>; };
        fada_i:   fada_i   { compatible = "zmk,behavior-mod-morph"; label = "FADA_I";   #binding-cells = <0>; bindings = <&smfada_i>,   <&lfada_i>;   mods = <(MOD_LSFT|MOD_RSFT)>; };
        fada_o:   fada_o   { compatible = "zmk,behavior-mod-morph"; label = "FADA_O";   #binding-cells = <0>; bindings = <&smfada_o>,   <&lfada_o>;   mods = <(MOD_LSFT|MOD_RSFT)>; };
        umlaut_o: umlaut_o { compatible = "zmk,behavior-mod-morph"; label = "UMLAUT_O"; #binding-cells = <0>; bindings = <&smumlaut_o>, <&lumlaut_o>; mods = <(MOD_LSFT|MOD_RSFT)>; };
        fada_u:   fada_u   { compatible = "zmk,behavior-mod-morph"; label = "FADA_U";   #binding-cells = <0>; bindings = <&smfada_u>,   <&lfada_u>;   mods = <(MOD_LSFT|MOD_RSFT)>; };
        umlaut_u: umlaut_u { compatible = "zmk,behavior-mod-morph"; label = "UMLAUT_U"; #binding-cells = <0>; bindings = <&smumlaut_u>, <&lumlaut_u>; mods = <(MOD_LSFT|MOD_RSFT)>; };
        acute_c:  acute_c  { compatible = "zmk,behavior-mod-morph"; label = "ACUTE_C";  #binding-cells = <0>; bindings = <&smacute_c>,  <&lacute_c>;  mods = <(MOD_LSFT|MOD_RSFT)>; };
        dark_l:   dark_l   { compatible = "zmk,behavior-mod-morph"; label = "DARK_L";   #binding-cells = <0>; bindings = <&smdark_l>,   <&ldark_l>;   mods = <(MOD_LSFT|MOD_RSFT)>; };
        acute_n:  acute_n  { compatible = "zmk,behavior-mod-morph"; label = "ACUTE_N";  #binding-cells = <0>; bindings = <&smacute_n>,  <&lacute_n>;  mods = <(MOD_LSFT|MOD_RSFT)>; };
        tilde_n:  tilde_n  { compatible = "zmk,behavior-mod-morph"; label = "TILDE_N";  #binding-cells = <0>; bindings = <&smtil_n>,    <&ltil_n>;    mods = <(MOD_LSFT|MOD_RSFT)>; };
        acute_s:  acute_s  { compatible = "zmk,behavior-mod-morph"; label = "ACUTE_S";  #binding-cells = <0>; bindings = <&smacute_s>,  <&lacute_s>;  mods = <(MOD_LSFT|MOD_RSFT)>; };
        acute_z:  acute_z  { compatible = "zmk,behavior-mod-morph"; label = "ACUTE_Z";  #binding-cells = <0>; bindings = <&smacute_z>,  <&lacute_z>;  mods = <(MOD_LSFT|MOD_RSFT)>; };
        dot_z:    dot_z    { compatible = "zmk,behavior-mod-morph"; label = "DOT_Z";    #binding-cells = <0>; bindings = <&smdot_z>,    <&ldot_z>;    mods = <(MOD_LSFT|MOD_RSFT)>; };
        lb_euro:  lb_euro  { compatible = "zmk,behavior-mod-morph"; label = "POUND_EURO"; #binding-cells = <0>; bindings = <&uk_pnd>,  <&euro>;      mods = <(MOD_LSFT|MOD_RSFT)>; };

// Encoder behaviors
        rgb_encoder: rgb_encoder {
            compatible = "zmk,behavior-sensor-rotate";
            label = "RGB_ENCODER";
            #sensor-binding-cells = <0>;
            bindings = <&rgb_inc>, <&rgb_dec>;
        };
        tab_browser: tab_browser {
            compatible = "zmk,behavior-sensor-rotate";
            label = "TAB_BROWSER";
            #sensor-binding-cells = <0>;
            bindings = <&tab_left>, <&tab_right>;
        };

// ── Tap-Dance behaviors ───────────────────────────────────────────
        // Color cycle through HSB presets
        cc: cc {
            compatible = "zmk,behavior-tap-dance";
            label = "COLOR_CYCLE";
            #binding-cells = <0>;
            tapping-term-ms = <200>;
            bindings
                = <&rgb_ug RGB_COLOR_HSB(0,100,20)>
                , <&rgb_ug RGB_COLOR_HSB(10,100,20)>
                , <&rgb_ug RGB_COLOR_HSB(35,100,20)>
                , <&rgb_ug RGB_COLOR_HSB(120,100,20)>
                , <&rgb_ug RGB_COLOR_HSB(240,100,20)>
                , <&rgb_ug RGB_COLOR_HSB(285,100,20)>
                ;
        };
        clcw: clcw {
            compatible = "zmk,behavior-tap-dance";
            label = "CAPS_LOCK_CAPS_WORD";
            #binding-cells = <0>;
            tapping-term-ms = <200>;
            bindings = <&kp CLCK>, <&caps_word>;
        };
        lscw: lscw {
            compatible = "zmk,behavior-tap-dance";
            label = "LEFT_SHIFT_CAPS_WORD";
            #binding-cells = <0>;
            tapping-term-ms = <200>;
            bindings = <&kp LSHFT>, <&caps_word>;
        };
        rscw: rscw {
            compatible = "zmk,behavior-tap-dance";
            label = "RIGHT_SHIFT_CAPS_WORD";
            #binding-cells = <0>;
            tapping-term-ms = <200>;
            bindings = <&kp RSHFT>, <&caps_word>;
        };
        stm: stm {
            compatible = "zmk,behavior-tap-dance";
            label = "SHIFT_TASK_MANAGER";
            #binding-cells = <0>;
            tapping-term-ms = <200>;
            bindings = <&kp LSHFT>, <&tm>;
        };
        pwr: pwr {
            compatible = "zmk,behavior-tap-dance";
            label = "POWER_COMMANDS";
            #binding-cells = <0>;
            tapping-term-ms = <200>;
            // ×1=RShift, ×2=Sleep, ×3=Restart, ×4=Shutdown
            bindings = <&kp RSHFT>, <&slp>, <&rst>, <&off>;
        };
        td_btr: td_btr {
            compatible = "zmk,behavior-tap-dance";
            label = "BT_CLEAR_TAP";
            #binding-cells = <0>;
            tapping-term-ms = <200>;
            bindings = <&kp ESC>, <&bt BT_CLR>;
        };
        pscode: pscode {
            compatible = "zmk,behavior-tap-dance";
            label = "POWERSHELL_CODE";
            #binding-cells = <0>;
            tapping-term-ms = <200>;
            // ×1=Run (F5), ×2=Debug breakpoint (F8)
            bindings = <&kp F5>, <&kp F8>;
        };
        // Layer access tap-dances (original)
        td_ll_l3: td_ll_l3 {
            compatible = "zmk,behavior-tap-dance";
            label = "LEFT_LAYER_TO_L3";
            #binding-cells = <0>;
            tapping-term-ms = <200>;
            bindings = <&mo 1>, <&sl 3>;
        };
        td_rl_l3: td_rl_l3 {
            compatible = "zmk,behavior-tap-dance";
            label = "RIGHT_LAYER_TO_L3";
            #binding-cells = <0>;
            tapping-term-ms = <200>;
            bindings = <&mo 2>, <&sl 3>;
        };
        // Special character tap-dances (Gaeilge / multilingual)
        td_sp_a: td_sp_a {
            compatible = "zmk,behavior-tap-dance"; label = "SPECIAL_A";
            #binding-cells = <0>; tapping-term-ms = <250>;
            bindings = <&fada_a>, <&ogonek_a>, <&umlaut_a>;
        };
        td_sp_e: td_sp_e {
            compatible = "zmk,behavior-tap-dance"; label = "SPECIAL_E";
            #binding-cells = <0>; tapping-term-ms = <250>;
            bindings = <&fada_e>, <&ogonek_e>;
        };
        // FIX: original used bare &fada_i (not tap-dance) on I key.
        // Added td_sp_i for consistency — ×1=fada_i (í/Í)
        td_sp_i: td_sp_i {
            compatible = "zmk,behavior-tap-dance"; label = "SPECIAL_I";
            #binding-cells = <0>; tapping-term-ms = <250>;
            bindings = <&fada_i>;
        };
        td_sp_o: td_sp_o {
            compatible = "zmk,behavior-tap-dance"; label = "SPECIAL_O";
            #binding-cells = <0>; tapping-term-ms = <250>;
            bindings = <&fada_o>, <&umlaut_o>;
        };
        td_sp_u: td_sp_u {
            compatible = "zmk,behavior-tap-dance"; label = "SPECIAL_U";
            #binding-cells = <0>; tapping-term-ms = <250>;
            bindings = <&fada_u>, <&umlaut_u>;
        };
        td_sp_n: td_sp_n {
            compatible = "zmk,behavior-tap-dance"; label = "SPECIAL_N";
            #binding-cells = <0>; tapping-term-ms = <250>;
            bindings = <&acute_n>, <&tilde_n>;
        };
        td_sp_s: td_sp_s {
            compatible = "zmk,behavior-tap-dance"; label = "SPECIAL_S";
            #binding-cells = <0>; tapping-term-ms = <200>;
            bindings = <&acute_s>, <&essette_s>;
        };
        td_sp_z: td_sp_z {
            compatible = "zmk,behavior-tap-dance"; label = "SPECIAL_Z";
            #binding-cells = <0>; tapping-term-ms = <200>;
            bindings = <&acute_z>, <&dot_z>;
        };
        td_lt: td_lt {
            compatible = "zmk,behavior-tap-dance"; label = "LT_DBL_LEFT";
            #binding-cells = <0>; tapping-term-ms = <200>;
            bindings = <&kp LT>, <&dbl_left>;
        };
        td_gt: td_gt {
            compatible = "zmk,behavior-tap-dance"; label = "GT_DBL_RIGHT";
            #binding-cells = <0>; tapping-term-ms = <200>;
            bindings = <&kp GT>, <&dbl_right>;
        };
        lwin_cad: lwin_cad {
            compatible = "zmk,behavior-tap-dance"; label = "LWIN_CTRL_ALT_DEL";
            #binding-cells = <0>; tapping-term-ms = <200>;
            bindings = <&kp LGUI>, <&cad>;
        };
        // Office: Bold/Italic/Underline cycle on one key
        td_fmt: td_fmt {
            compatible = "zmk,behavior-tap-dance"; label = "FORMAT_CYCLE";
            #binding-cells = <0>; tapping-term-ms = <200>;
            bindings = <&bold>, <&italic>, <&underline>;
        };
        // Code: Move line up/down tap-dance
        td_mv_ln: td_mv_ln {
            compatible = "zmk,behavior-tap-dance"; label = "MOVE_LINE";
            #binding-cells = <0>; tapping-term-ms = <200>;
            bindings = <&mv_ln_up>, <&mv_ln_dn>;
        };
        // Code: Fold/Unfold tap-dance
        td_fold: td_fold {
            compatible = "zmk,behavior-tap-dance"; label = "FOLD_UNFOLD";
            #binding-cells = <0>; tapping-term-ms = <200>;
            bindings = <&fold_all>, <&unfold_all>;
        };
    };

// ════════════════════════════════════════════════════════════════════
//  K E Y M A P
// ════════════════════════════════════════════════════════════════════
    keymap {
        compatible = "zmk,keymap";

// ────────────────────────────────────────────────────────────────────
// LAYER 0 — DEFAULT (unchanged from original)
// ┌──────┬───┬───┬───┬───┬───┐               ┌───┬───┬───┬───┬───┬──────┐
// │ ESC  │ 1 │ 2 │ 3 │ 4 │ 5 │               │ 6 │ 7 │ 8 │ 9 │ 0 │ DEL  │
// │ TAB  │ Q │ W │ E │ R │ T │               │ Y │ U │ I │ O │ P │ BSPC │
// │CAPS* │ A │ S │ D │ F │ G │               │ H │ J │ K │ L │ ; │  '   │
// │LSHFT*│ Z │ X │ C │ V │ B │ VOL  │  │CTAB│ N │ M │ , │ . │ / │RSHFT*│
// └──────┴───┴───┴───┴───┴───┘ ───── │  │────└───┴───┴───┴───┴───┴──────┘
//            │GUI†│ALT│CTL│LOW│ ENT‡ │  │SPC │RSE│CTL│ALT│GUI│
// * ×2 = Caps Word   † hold=Win tap=CAD   ‡ Shift=App Menu
// ────────────────────────────────────────────────────────────────────
        default_layer {
            bindings = <
&kp ESC  &kp N1  &kp N2     &kp N3    &kp N4    &kp N5                              &kp N6     &kp N7    &kp N8    &kp N9    &kp N0    &kp DEL
&kp TAB  &kp Q   &kp W      &kp E     &kp R     &kp T                               &kp Y      &kp U     &kp I     &kp O     &kp P     &kp BSPC
&clcw    &kp A   &kp S      &kp D     &kp F     &kp G                               &kp H      &kp J     &kp K     &kp L     &kp SEMI  &kp SQT
&lscw    &kp Z   &kp X      &kp C     &kp V     &kp B     &kp C_MUTE  &close_tab   &kp N      &kp M     &kp COMMA &kp DOT   &kp FSLH  &rscw
   &trans &trans &lwin_cad  &kp LALT  &kp LCTRL &td_ll_l3 &ret_menu   &kp SPACE    &td_rl_l3  &kp RCTRL &kp RALT  &kp RGUI &trans &trans
            >;
            sensor-bindings = <&inc_dec_kp C_VOL_UP C_VOL_DN &tab_browser>;
        };

// ────────────────────────────────────────────────────────────────────
// LAYER 1 — OFFICE
// Left: Navigation + Office shortcuts
// Right: Numpad
//
// ┌──────┬──────┬──────┬──────┬──────┬──────┐               ┌──────┬──────┬──────┬──────┬──────┬──────┐
// │  F1  │  F2  │  F3  │  F4  │  F5  │  F6  │               │  F7  │  NL  │KP_/  │KP_*  │KP_-  │  F12 │
// │SAVE  │UNDO  │REDO  │ ↑    │FNDREV│SEL_AL│               │      │ KP7  │ KP8  │ KP9  │KP_+  │ BSPC │
// │TEAMS │HOME  │ ←    │ ↓    │ →    │ END  │               │      │ KP4  │ KP5  │ KP6  │KP_+  │KP_ENT│
// │TASK* │PG_UP │PG_DN │XSLEND│XLSUM │BIU*  │ FF/RW│  │PgUD │      │ KP1  │ KP2  │ KP3  │KP_ENT│      │
// └──────┴──────┴──────┴──────┴──────┴──────┘ ───── │  │────└──────┴──────┴──────┴──────┴──────┴──────┘
//               │      │      │      │      │ ENT  │  │SPC  │      │ KP0  │ KP0  │KP_DOT│
// * BIU = Bold/Italic/Underline tap-dance   TASK* ×2 = Task Manager
// ────────────────────────────────────────────────────────────────────
        lower_layer {
            bindings = <
&kp F1       &kp F2      &kp F3     &kp F4       &kp F5      &kp F6                                      &kp F7   &kp KP_NUM    &kp KP_DIVIDE   &kp KP_MULTIPLY  &kp KP_MINUS  &kp F12
&save_file   &undo_act   &redo_act  &kp UP       &find_rep   &sel_all                                    &trans   &kp KP_N7     &kp KP_N8       &kp KP_N9        &kp KP_PLUS   &kp BSPC
&teams_mute  &kp HOME    &kp LEFT   &kp DOWN     &kp RIGHT   &kp END                                     &trans   &kp KP_N4     &kp KP_N5       &kp KP_N6        &kp KP_PLUS   &kp KP_ENTER
&stm         &kp PG_UP   &kp PG_DN  &xl_sel_end  &xl_sum     &td_fmt   &kp C_FAST_FORWARD  &kp C_REWIND  &trans   &kp KP_N1     &kp KP_N2       &kp KP_N3        &kp KP_ENTER  &trans
   &trans &trans          &trans     &trans       &trans      &trans    &kp RET             &kp SPACE     &trans   &kp KP_N0     &kp KP_N0       &kp KP_DOT &trans &trans
            >;
            // Left encoder: media FF/RW  |  Right encoder: Page Up/Down
            sensor-bindings = <&inc_dec_kp C_FAST_FORWARD C_REWIND &inc_dec_kp PG_UP PG_DN>;
        };

// ────────────────────────────────────────────────────────────────────
// LAYER 2 — CODE
// Left: code nav / symbols    Right: brackets / operators / functions
//
// ┌──────┬──────┬──────┬──────┬──────┬──────┐               ┌──────┬──────┬──────┬──────┬──────┬──────┐
// │  F1  │  F2  │  F3  │  F4  │  F5  │  F6  │               │  F7  │  F8  │  F9  │  F10 │  F11 │  F12 │
// │FMTDOC│  `   │  ~   │  <«  │  >»  │  ?   │               │  *   │  {   │  }   │ HOME │  END │      │
// │ schwa│  !   │  @   │  #   │  $   │  %   │               │  _   │  (   │  )   │  ;   │  |   │COLOR │
// │TOGCMT│MVLN* │FOLD* │GODEF │RENAME│DUPLN │  RGB │  │PGUD  │  ^   │  [   │  ]   │  :   │  \   │POWER │
// └──────┴──────┴──────┴──────┴──────┴──────┘ ───── │  │────└──────┴──────┴──────┴──────┴──────┴──────┘
//               │CMDPAL│NTERM │      │ MO3  │CODE* │  │      │      │      │      │      │
// MVLN* ×1=up ×2=down  FOLD* ×1=fold ×2=unfold  CODE* ×1=F5 ×2=F8
// ────────────────────────────────────────────────────────────────────
        raise_layer {
// ────────────────────────────────────────────────────────────────────
// LAYER 2 — CODE   (Symbols / VSCode shortcuts)
// RGB & BT controls moved to Layer 3
// ┌──────┬──────┬──────┬──────┬──────┬──────┐               ┌──────┬──────┬──────┬──────┬──────┬──────┐
// │  F1  │  F2  │  F3  │  F4  │  F5  │  F6  │               │  F7  │  F8  │  F9  │  F10 │  F11 │  F12 │
// │FMTDOC│  `   │  ~   │ <  « │ >  » │  ?   │               │  *   │  {   │  }   │ HOME │  END │      │
// │ schwa│  !   │  @   │  #   │  $   │  %   │               │  _   │  (   │  )   │  ;   │  |   │      │
// │TOGCMT│MVLN* │FOLD* │GODEF │RENAME│DUPLN │[    ][  ]│     │  ^   │  [   │  ]   │  :   │  \   │POWER │
// └──────┴──────┴──────┴──────┴──────┴──────┘          │     └──────┴──────┴──────┴──────┴──────┴──────┘
//  [tr][tr]│CMDPAL│NTERM │      │ MO3  │CODE* │    │   │      │      │      │      │[tr][tr]
// ────────────────────────────────────────────────────────────────────
            bindings = <
&kp F1      &kp F2     &kp F3      &kp F4      &kp F5      &kp F6                             &kp F7    &kp F8    &kp F9    &kp F10   &kp F11   &kp F12
&fmt_doc    &kp GRAVE  &kp TILDE   &td_lt      &td_gt      &kp QMARK                          &kp ASTRK &kp LBRC  &kp RBRC  &kp HOME  &kp END   &trans
&schwa      &kp EXCL   &kp AT      &kp HASH    &kp DLLR    &kp PRCNT                          &kp UNDER &kp LPAR  &kp RPAR  &kp SEMI  &kp PIPE  &trans
&toggle_cmt &td_mv_ln  &td_fold    &go_def     &rename_sym &dup_ln  &trans  &trans             &kp CARET &kp LBKT  &kp RBKT  &kp COLON &kp BSLH  &pwr
   &trans &trans  &cmd_pal  &new_term  &trans  &mo 3  &pscode  &trans  &trans  &trans  &trans  &trans  &trans &trans
            >;
            // Left encoder: PgUp/PgDn  |  Right encoder: Page Up/Down
            sensor-bindings = <&inc_dec_kp PG_UP PG_DN &inc_dec_kp PG_UP PG_DN>;
        };

// ────────────────────────────────────────────────────────────────────
// LAYER 3 — SYSTEM (Bluetooth + RGB)
// Activate: hold LOWER ×2 (sl 3) from either side
//
// ┌──────┬──────┬──────┬──────┬──────┬──────┐               ┌──────┬──────┬──────┬──────┬──────┬──────┐
// │BT_CLR│ BT0  │ BT1  │ BT2  │ BT3  │ BT4  │               │      │      │      │      │      │      │
// │      │      │      │      │      │OUT_TG│               │RGBTOG│HUEINC│HUEDEC│      │      │      │
// │      │      │      │      │      │      │               │EFFNXT│SATINC│SATDEC│      │      │      │
// │      │      │      │      │      │      │  RGB ↕│  │    │BRIINC│BRIDEC│SPDINC│SPDDEC│      │      │
// └──────┴──────┴──────┴──────┴──────┴──────┘ ─────  │  │──└──────┴──────┴──────┴──────┴──────┴──────┘
//               │      │      │ to 0 │      │       │  │    │      │ to 0 │      │      │
// ────────────────────────────────────────────────────────────────────
        gaeilge_layer {
// ────────────────────────────────────────────────────────────────────
// LAYER 3 — SYSTEM   (Bluetooth + RGB — all controls here)
// Activate: hold LOWER x2 (sl 3) from either side
//
// Left: Bluetooth profiles + output toggle
// Right: Full RGB controls (toggle, hue, sat, bri, spd, effect, color cycle)
//
// ┌──────┬──────┬──────┬──────┬──────┬──────┐               ┌──────┬──────┬──────┬──────┬──────┬──────┐
// │BTCLR*│ BT0  │ BT1  │ BT2  │ BT3  │ BT4  │               │RGBTOG│HUEINC│HUEDEC│      │      │      │
// │      │      │      │      │      │OUTTOG│               │EFFNXT│SATINC│SATDEC│BRIINC│BRIDEC│      │
// │      │      │      │      │      │      │               │SPDINC│SPDDEC│      │      │      │COLOR │
// │      │      │      │      │      │      │[RGBTOG][ ]│   │      │      │      │      │      │POWER │
// └──────┴──────┴──────┴──────┴──────┴──────┘           │   └──────┴──────┴──────┴──────┴──────┴──────┘
//  [tr][tr]│      │      │ TO0  │      │       │   │    │      │ TO0  │      │      │[tr][tr]
// BTCLR* x2=clear profile
// ────────────────────────────────────────────────────────────────────
            bindings = <
&td_btr  &bt BT_SEL 0 &bt BT_SEL 1 &bt BT_SEL 2 &bt BT_SEL 3 &bt BT_SEL 4                        &rgb_ug RGB_TOG  &rgb_ug RGB_HUI  &rgb_ug RGB_HUD  &trans           &trans  &trans
&trans   &trans       &trans       &trans       &trans       &out OUT_TOG                        &rgb_ug RGB_EFF  &rgb_ug RGB_SAI  &rgb_ug RGB_SAD  &rgb_ug RGB_BRI  &rgb_ug RGB_BRD  &trans
&trans   &trans       &trans       &trans       &trans       &trans                              &rgb_ug RGB_SPI  &rgb_ug RGB_SPD  &trans           &trans           &trans  &cc
&trans   &trans       &trans       &trans       &trans       &trans  &rgb_ug RGB_TOG  &trans      &trans           &trans           &trans           &trans           &trans  &pwr
   &trans &trans  &trans  &trans  &to 0  &trans  &trans  &trans  &trans  &to 0  &trans  &trans  &trans &trans
            >;
            // Left encoder: RGB hue +/-  |  Right encoder: RGB brightness +/-
            sensor-bindings = <&rgb_encoder &inc_dec_kp C_VOL_UP C_VOL_DN>;
        };
    };
};
